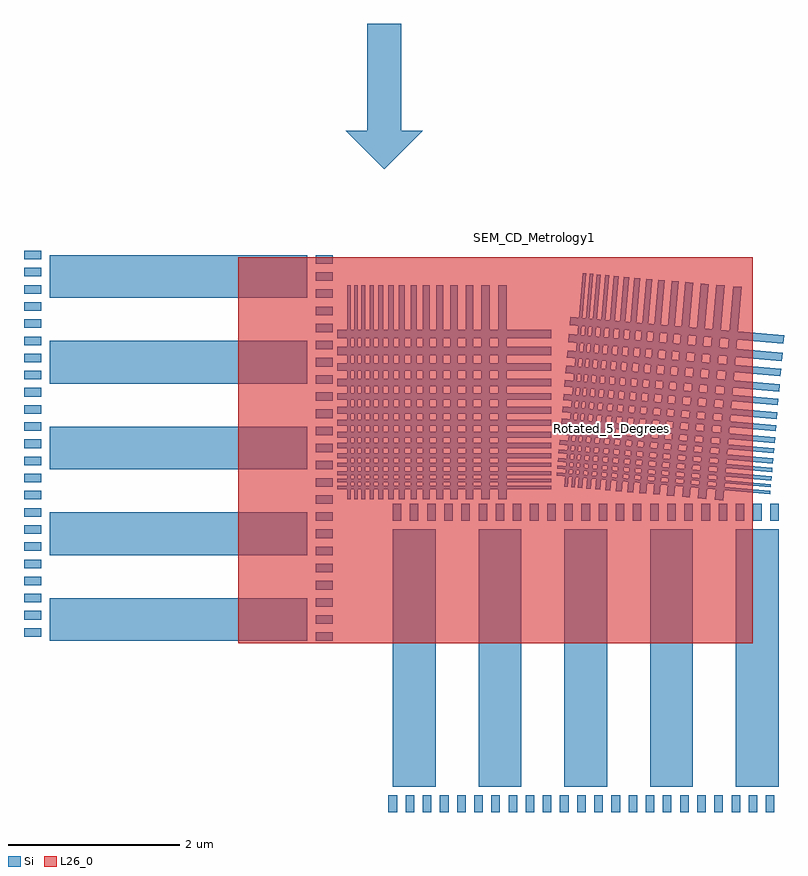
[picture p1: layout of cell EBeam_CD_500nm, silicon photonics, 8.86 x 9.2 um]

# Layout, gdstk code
from math import pi, radians
import gdstk
lib = gdstk.Library(unit=1e-6, precision=1e-09)
def R(c, l, rs):  # rectangles x0, y0, x1, y1
    for r in rs: c.add(gdstk.rectangle(r[:2], r[2:], *l))
def P(c, l, *ps):  # polygons
    for p in ps: c.add(gdstk.Polygon(p, *l))
Si = (1, 0)
L26_0 = (26, 0)

lines_50nm_80nm = lib.new_cell('lines_50nm_80nm')
R(lines_50nm_80nm, Si, [(0,0,0.04,2.5), (0.08,0,0.12,2.5), (0.16,0,0.21,2.5), (0.26,0,0.31,2.5), (0.36,0,0.42,2.5), (0.48,0,0.54,2.5), (0.6,0,0.67,2.5), (0.74,0,0.81,2.5), (0.88,0,0.96,2.5), (1.04,0,1.12,2.5), (1.2,0,1.29,2.5), (1.38,0,1.47,2.5), (1.56,0,1.66,2.5), (1.76,0,1.86,2.5)])
lines_50nm_80nm.add(gdstk.Label('80', (0.88,0), layer=1, texttype=0))
lines_50nm_80nm.add(gdstk.Label('40', (0,0), layer=1, texttype=0))
lines_50nm_80nm.add(gdstk.Label('50', (0.16,0), layer=1, texttype=0))
lines_50nm_80nm.add(gdstk.Label('60', (0.36,0), layer=1, texttype=0))
lines_50nm_80nm.add(gdstk.Label('60', (0.36,0), layer=1, texttype=0))
lines_50nm_80nm.add(gdstk.Label('70', (0.6,0), layer=1, texttype=0))
lines_50nm_80nm.add(gdstk.Label('80', (0.88,0), layer=1, texttype=0))
lines_50nm_80nm.add(gdstk.Label('90', (1.2,0), layer=1, texttype=0))
lines_50nm_80nm.add(gdstk.Label('100', (1.56,0), layer=1, texttype=0))

arrow = lib.new_cell('arrow')
P(arrow, Si, [(-0.4,-0.5),(-0.85,-0.05),(-0.4,0.4),(-0.4,0.15),(0.85,0.15),(0.85,-0.25),(-0.4,-0.25)])

wg_500nm = lib.new_cell('WG_500nm')
R(wg_500nm, Si, [(0,0,3,0.5)])

ruler = lib.new_cell('ruler')
R(ruler, Si, [(0,0,0.2,0.1)])

cd_500nm = lib.new_cell('CD_500nm')
r = gdstk.Reference(wg_500nm, (0.3,0)); r.repetition = gdstk.Repetition(1, 5, v1=(0,0), v2=(0,1)); cd_500nm.add(r)
r = gdstk.Reference(ruler, (3.4,0)); r.repetition = gdstk.Repetition(1, 23, v1=(0,0), v2=(0,0.2)); cd_500nm.add(r)
r = gdstk.Reference(ruler, (0,0.05)); r.repetition = gdstk.Repetition(1, 23, v1=(0,0), v2=(0,0.2)); cd_500nm.add(r)

ebeam_cd_500nm = lib.new_cell('EBeam_CD_500nm')
R(ebeam_cd_500nm, L26_0, [(2.2,-0.025,8.2,4.475)])
ebeam_cd_500nm.add(gdstk.Reference(lines_50nm_80nm, (5.85,1.77), rotation=pi/2))
ebeam_cd_500nm.add(gdstk.Reference(lines_50nm_80nm, (6,1.8), rotation=radians(355)))
ebeam_cd_500nm.add(gdstk.Reference(arrow, (3.95,6.35), rotation=pi/2, x_reflection=True))
ebeam_cd_500nm.add(gdstk.Reference(lines_50nm_80nm, (8.4,1.71), rotation=radians(85)))
ebeam_cd_500nm.add(gdstk.Reference(cd_500nm, (8.5,-2), rotation=pi/2))
ebeam_cd_500nm.add(gdstk.Reference(cd_500nm, (-0.3,0)))
ebeam_cd_500nm.add(gdstk.Reference(lines_50nm_80nm, (3.47,1.65)))
ebeam_cd_500nm.add(gdstk.Label('Rotated_5_Degrees', (6.55,2.472), layer=1, texttype=0))
ebeam_cd_500nm.add(gdstk.Label('SEM_CD_Metrology1', (5.65,4.7), layer=26, texttype=0))

lib.write_gds('EBeam_CD_500nm.gds')
